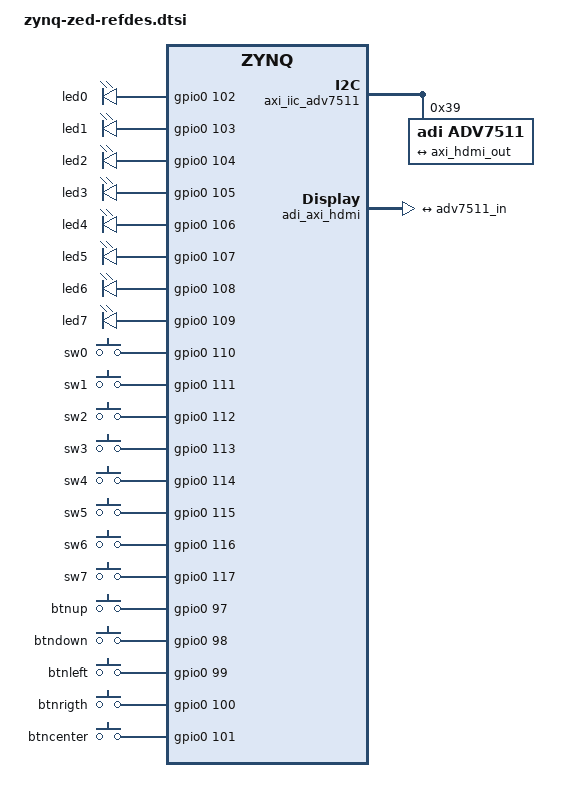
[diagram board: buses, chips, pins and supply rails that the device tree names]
/*
 * This is the ZedBoard reference design
 */

#include <dt-bindings/input/linux-event-codes.h>
#include <dt-bindings/gpio/gpio.h>

&amba {
	axi_iic_adv7511: i2c@41600000 {
                #address-cells = <1>;
                #size-cells = <0>;
                clock-names = "s_axi_aclk";
                clocks = <&clkc 15>;
                compatible = "xlnx,axi-iic-2.1", "xlnx,xps-iic-2.00.a";
                interrupt-names = "iic2intc_irpt";
                interrupt-parent = <&intc>;
                interrupts = <0 31 4>;
                reg = <0x41600000 0x10000>;

		adv7511: adv7511@39 {
			compatible = "adi,adv7511";
                        reg = <0x39>, <0x3f>;
			reg-names = "primary", "edid";

                        adi,input-depth = <8>;
                        adi,input-colorspace = "yuv422";
                        adi,input-clock = "1x";
                        adi,input-style = <1>;
                        adi,input-justification = "right";
                        adi,clock-delay = <0>;

                        #sound-dai-cells = <1>;

                        ports {
                                #address-cells = <1>;
                                #size-cells = <0>;

                                port@0 {
                                        reg = <0>;
                                        adv7511_in: endpoint {
                                                remote-endpoint = <&axi_hdmi_out>;
                                        };
                                };

                                port@1 {
                                        reg = <1>;
                                };
                        };
		};
	};

        hdmi_dma: dma@43C00000 {
                compatible = "adi,axi-dmac-1.00.a";
                reg = <0x43C00000 0x10000>;
                #dma-cells = <1>;
                interrupts = <0 29 4>;
                clocks = <&clkc 15>, <&clkc 15>, <&clkc 15>;

                adi,channels {
                        #size-cells = <0>;
                        #address-cells = <1>;

                        dma-channel@0 {
                                reg = <0>;
                                adi,source-bus-width = <64>;
                                adi,source-bus-type = <0>;
                                adi,destination-bus-width = <64>;
                                adi,destination-bus-type = <1>;
                        };
                };
        };

	adi_axi_hdmi: axi_hdmi@43C30000 {
		compatible = "adi,axi-hdmi-tx-1.00.a";
		reg = <0x43C30000 0x10000>;
		dmas = <&hdmi_dma 0>;
		dma-names = "video";
		clocks = <&iit_clkgen_top_0 0>;

		port {
			axi_hdmi_out: endpoint {
				remote-endpoint = <&adv7511_in>;
			};
		};
	};

        iit_clkgen_top_0: iit_clkgen_top@43c10000 {
                compatible = "adi,axi-clkgen-2.00.a";
                reg = <0x43c10000 0x10000>;
                #clock-cells = <0x0>;
                clocks = <&clkc 16>;
        };

	date_iit_0: date_iit@43c20000 {
                clock-names = "S_AXI_ACLK";
                clocks = <&clkc 15>;
                compatible = "iit,date-1.0";
                reg = <0x43c20000 0x10000>;
        };

        leds {
                compatible = "gpio-leds";
                led0 {
                        label = "led0";
                        gpios = <&gpio0 102 GPIO_ACTIVE_HIGH>;
                        linux,default-trigger = "none";
                };
                led1 {
                        label = "led1";
                        gpios = <&gpio0 103 GPIO_ACTIVE_HIGH>;
                        linux,default-trigger = "none";
                };
                led2 {
                        label = "led2";
                        gpios = <&gpio0 104 GPIO_ACTIVE_HIGH>;
                        linux,default-trigger = "none";
                };
                led3 {
                        label = "led3";
                        gpios = <&gpio0 105 GPIO_ACTIVE_HIGH>;
                        linux,default-trigger = "none";
                };
                led4 {
                        label = "led4";
                        gpios = <&gpio0 106 GPIO_ACTIVE_HIGH>;
                        linux,default-trigger = "none";
                };
                led5 {
                        label = "led5";
                        gpios = <&gpio0 107 GPIO_ACTIVE_HIGH>;
                        linux,default-trigger = "none";
                };
                led6 {
                        label = "led6";
                        gpios = <&gpio0 108 GPIO_ACTIVE_HIGH>;
                        linux,default-trigger = "none";
                };
                led7 {
                        label = "led7";
                        gpios = <&gpio0 109 GPIO_ACTIVE_HIGH>;
                        linux,default-trigger = "none";
                };
        };

        gpio-keys {
                compatible = "gpio-keys";

                sw0 {
                        label = "sw0";
                        gpios = <&gpio0 110 GPIO_ACTIVE_HIGH>;
                        linux,code = <KEY_Q>;
                };
                sw1 {
                        label = "sw1";
                        gpios = <&gpio0 111 GPIO_ACTIVE_HIGH>;
                        linux,code = <KEY_W>;
                };
                sw2 {
                        label = "sw2";
                        gpios = <&gpio0 112 GPIO_ACTIVE_HIGH>;
                        linux,code = <KEY_E>;
                };
                sw3 {
                        label = "sw3";
                        gpios = <&gpio0 113 GPIO_ACTIVE_HIGH>;
                        linux,code = <KEY_R>;
                };
                sw4 {
                        label = "sw4";
                        gpios = <&gpio0 114 GPIO_ACTIVE_HIGH>;
                        linux,code = <KEY_T>;
                };
                sw5 {
                        label = "sw5";
                        gpios = <&gpio0 115 GPIO_ACTIVE_HIGH>;
                        linux,code = <KEY_Y>;
                };
                sw6 {
                        label = "sw6";
                        gpios = <&gpio0 116 GPIO_ACTIVE_HIGH>;
                        linux,code = <KEY_U>;
                };
                sw7 {
                        label = "sw7";
                        gpios = <&gpio0 117 GPIO_ACTIVE_HIGH>;
                        linux,code = <KEY_I>;
                };
                btnup {
                        label = "btnup";
                        gpios = <&gpio0 97 GPIO_ACTIVE_HIGH>;
                        linux,code = <KEY_SEMICOLON>;
                };
                btndown {
                        label = "btndown";
                        gpios = <&gpio0 98 GPIO_ACTIVE_HIGH>;
                        linux,code = <KEY_APOSTROPHE>;
                };
                btnleft {
                        label = "btnleft";
                        gpios = <&gpio0 99 GPIO_ACTIVE_HIGH>;
                        linux,code = <KEY_GRAVE>;
                };
                btnrigth {
                        label = "btnrigth";
                        gpios = <&gpio0 100 GPIO_ACTIVE_HIGH>;
                        linux,code = <KEY_LEFTSHIFT>;
                };
                btncenter {
                        label = "btncenter";
                        gpios = <&gpio0 101 GPIO_ACTIVE_HIGH>;
                        linux,code = <KEY_BACKSLASH>;
                };
        };
};

